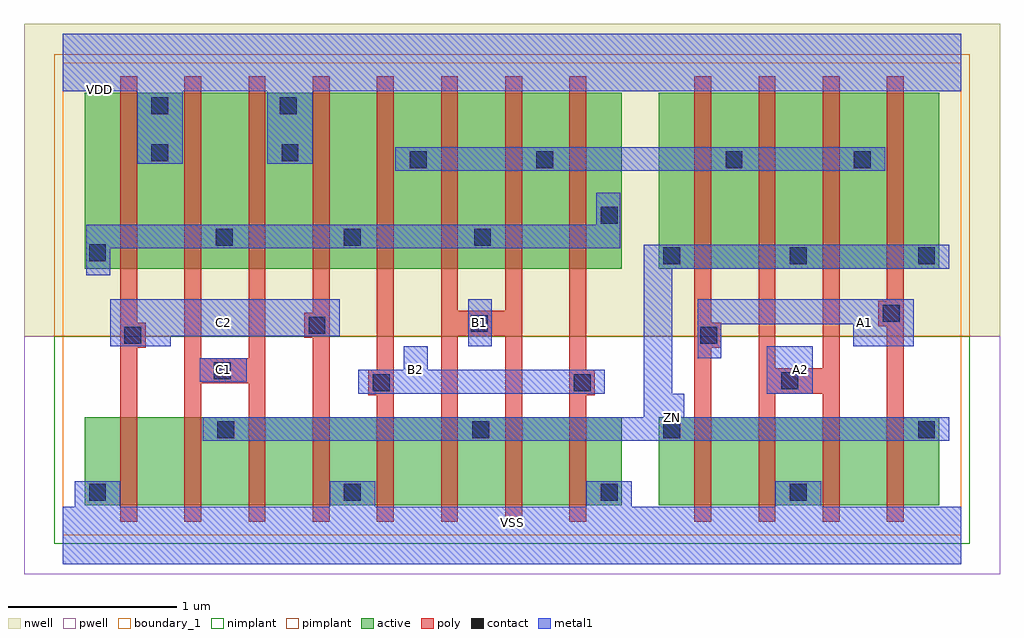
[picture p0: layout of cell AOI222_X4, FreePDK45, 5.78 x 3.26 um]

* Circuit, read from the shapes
.subckt AOI222_X4 A1 A2 B1 B2 C1 C2 VDD VSS ZN
M1 n1 C2 VSS VSUBS nfet w=0.52u l=0.1u
M2 ZN C1 n1 VSUBS nfet w=0.52u l=0.1u
M3 n2 C1 ZN VSUBS nfet w=0.52u l=0.1u
M4 VSS C2 n2 VSUBS nfet w=0.52u l=0.1u
M5 n3 B2 VSS VSUBS nfet w=0.52u l=0.1u
M6 ZN B1 n3 VSUBS nfet w=0.52u l=0.1u
M7 n4 B1 ZN VSUBS nfet w=0.52u l=0.1u
M8 VSS B2 n4 VSUBS nfet w=0.52u l=0.1u
M9 n5 A1 ZN VSUBS nfet w=0.52u l=0.1u
M10 VSS A2 n5 VSUBS nfet w=0.52u l=0.1u
M11 n6 A2 VSS VSUBS nfet w=0.52u l=0.1u
M12 ZN A1 n6 VSUBS nfet w=0.52u l=0.1u
M13 VDD C2 n7 n8 pfet w=1.04u l=0.1u m=2
M14 n7 C1 VDD n8 pfet w=1.04u l=0.1u m=2
M15 n9 B2 n7 n8 pfet w=1.04u l=0.1u m=2
M16 n7 B1 n9 n8 pfet w=1.04u l=0.1u m=2
M17 n9 A1 ZN n8 pfet w=1.04u l=0.1u m=2
M18 ZN A2 n9 n8 pfet w=1.04u l=0.1u m=2
.ends

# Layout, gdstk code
import gdstk
lib = gdstk.Library(unit=1e-6, precision=1e-09)
def R(c, l, rs):  # rectangles x0, y0, x1, y1
    for r in rs: c.add(gdstk.rectangle(r[:2], r[2:], *l))
def P(c, l, *ps):  # polygons
    for p in ps: c.add(gdstk.Polygon(p, *l))
active = (1, 0)
pwell = (2, 0)
nwell = (3, 0)
nimplant = (4, 0)
pimplant = (5, 0)
poly = (9, 0)
contact = (10, 0)
metal1 = (11, 0)
boundary_1 = (235, 1)

aoi222_x4 = lib.new_cell('AOI222_X4')
R(aoi222_x4, active, [(0.13,0.18,3.31,0.7), (3.53,0.18,5.19,0.7), (0.13,1.58,3.31,2.62), (3.53,1.58,5.19,2.62)])
R(aoi222_x4, pwell, [(-0.23,-0.23,5.55,1.18)])
R(aoi222_x4, nwell, [(-0.23,1.18,5.55,3.03)])
R(aoi222_x4, nimplant, [(-0.05,-0.05,5.37,1.18)])
R(aoi222_x4, pimplant, [(-0.05,1.18,5.37,2.85)])
P(aoi222_x4, poly, [(4.83,1.24),(4.88,1.24),(4.88,0.08),(4.98,0.08),(4.98,2.72),(4.88,2.72),(4.88,1.39),(4.83,1.39)],
  [(4.12,0.08),(4.22,0.08),(4.22,0.84),(4.5,0.84),(4.5,0.08),(4.6,0.08),(4.6,2.72),(4.5,2.72),(4.5,0.99),(4.22,0.99),(4.22,2.72),(4.12,2.72)],
  [(3.74,0.08),(3.84,0.08),(3.84,1.11),(3.9,1.11),(3.9,1.26),(3.84,1.26),(3.84,2.72),(3.74,2.72)],
  [(3,0.08),(3.1,0.08),(3.1,0.83),(3.15,0.83),(3.15,0.98),(3.1,0.98),(3.1,2.72),(3,2.72)],
  [(2.24,0.08),(2.34,0.08),(2.34,1.18),(2.62,1.18),(2.62,0.08),(2.72,0.08),(2.72,2.72),(2.62,2.72),(2.62,1.33),(2.34,1.33),(2.34,2.72),(2.24,2.72)],
  [(1.81,0.83),(1.86,0.83),(1.86,0.08),(1.96,0.08),(1.96,2.72),(1.86,2.72),(1.86,0.98),(1.81,0.98)],
  [(1.43,1.17),(1.48,1.17),(1.48,0.08),(1.58,0.08),(1.58,2.72),(1.48,2.72),(1.48,1.32),(1.43,1.32)],
  [(0.72,0.08),(0.82,0.08),(0.82,0.9),(1.1,0.9),(1.1,0.08),(1.2,0.08),(1.2,2.72),(1.1,2.72),(1.1,1.05),(0.82,1.05),(0.82,2.72),(0.72,2.72)],
  [(0.34,0.08),(0.44,0.08),(0.44,1.11),(0.49,1.11),(0.49,1.26),(0.44,1.26),(0.44,2.72),(0.34,2.72)])
R(aoi222_x4, contact, [(0.155,0.205,0.255,0.305), (1.665,0.205,1.765,0.305), (3.185,0.205,3.285,0.305), (4.305,0.205,4.405,0.305), (0.915,0.575,1.015,0.675), (2.425,0.575,2.525,0.675), (3.555,0.575,3.655,0.675), (5.065,0.575,5.165,0.675), (1.835,0.855,1.935,0.955), (3.025,0.855,3.125,0.955), (4.255,0.865,4.355,0.965), (0.895,0.925,0.995,1.025), (0.365,1.135,0.465,1.235), (3.775,1.135,3.875,1.235), (1.455,1.195,1.555,1.295), (2.415,1.205,2.515,1.305), (4.855,1.265,4.955,1.365), (3.555,1.605,3.655,1.705), (4.305,1.605,4.405,1.705), (5.065,1.605,5.165,1.705), (0.155,1.625,0.255,1.725), (0.905,1.715,1.005,1.815), (1.665,1.715,1.765,1.815), (2.435,1.715,2.535,1.815), (3.185,1.845,3.285,1.945), (2.055,2.175,2.155,2.275), (2.805,2.175,2.905,2.275), (3.925,2.175,4.025,2.275), (4.685,2.175,4.785,2.275), (0.525,2.215,0.625,2.315), (1.295,2.215,1.395,2.315), (0.525,2.495,0.625,2.595), (1.285,2.495,1.385,2.595)])
R(aoi222_x4, metal1, [(4.17,0.84,4.44,1.12), (4.17,0.84,4.44,1.12), (0.81,0.91,1.09,1.05), (0.81,0.91,1.09,1.05), (2.4,1.12,2.54,1.4), (2.4,1.12,2.54,1.4), (1.97,2.16,4.87,2.3)])
P(aoi222_x4, metal1, [(0.28,1.12),(0.64,1.12),(0.64,1.18),(1.64,1.18),(1.64,1.4),(0.28,1.4)],
  [(1.75,0.84),(3.21,0.84),(3.21,0.98),(2.16,0.98),(2.16,1.12),(2.02,1.12),(2.02,0.98),(1.75,0.98)],
  [(0,-0.17),(5.32,-0.17),(5.32,0.17),(4.49,0.17),(4.49,0.32),(4.22,0.32),(4.22,0.17),(3.37,0.17),(3.37,0.32),(3.1,0.32),(3.1,0.17),(1.85,0.17),(1.85,0.32),(1.58,0.32),(1.58,0.17),(0.34,0.17),(0.34,0.32),(0.07,0.32),(0.07,0.17),(0,0.17)],
  [(3.61,1.58),(5.25,1.58),(5.25,1.72),(3.44,1.72),(3.44,0.7),(0.83,0.7),(0.83,0.56),(5.25,0.56),(5.25,0.7),(3.68,0.7),(3.68,0.84),(3.61,0.84)],
  [(3.76,1.05),(3.9,1.05),(3.9,1.25),(4.68,1.25),(4.68,1.12),(5.04,1.12),(5.04,1.4),(3.76,1.4)],
  [(0,2.63),(0.44,2.63),(0.44,2.2),(0.71,2.2),(0.71,2.63),(1.21,2.63),(1.21,2.2),(1.48,2.2),(1.48,2.63),(5.32,2.63),(5.32,2.97),(0,2.97)],
  [(0,2.63),(0.44,2.63),(0.44,2.2),(0.71,2.2),(0.71,2.63),(1.21,2.63),(1.21,2.2),(1.48,2.2),(1.48,2.63),(5.32,2.63),(5.32,2.97),(0,2.97)],
  [(0,-0.17),(5.32,-0.17),(5.32,0.17),(4.49,0.17),(4.49,0.32),(4.22,0.32),(4.22,0.17),(3.37,0.17),(3.37,0.32),(3.1,0.32),(3.1,0.17),(1.85,0.17),(1.85,0.32),(1.58,0.32),(1.58,0.17),(0.34,0.17),(0.34,0.32),(0.07,0.32),(0.07,0.17),(0,0.17)],
  [(3.61,1.58),(5.25,1.58),(5.25,1.72),(3.44,1.72),(3.44,0.7),(0.83,0.7),(0.83,0.56),(5.25,0.56),(5.25,0.7),(3.68,0.7),(3.68,0.84),(3.61,0.84)],
  [(3.76,1.05),(3.9,1.05),(3.9,1.25),(4.68,1.25),(4.68,1.12),(5.04,1.12),(5.04,1.4),(3.76,1.4)],
  [(0.14,1.54),(0.28,1.54),(0.28,1.7),(3.3,1.7),(3.3,2.03),(3.16,2.03),(3.16,1.84),(0.14,1.84)],
  [(1.75,0.84),(3.21,0.84),(3.21,0.98),(2.16,0.98),(2.16,1.12),(2.02,1.12),(2.02,0.98),(1.75,0.98)],
  [(0.28,1.12),(0.64,1.12),(0.64,1.18),(1.64,1.18),(1.64,1.4),(0.28,1.4)])
R(aoi222_x4, boundary_1, [(0,0,5.32,2.8)])
aoi222_x4.add(gdstk.Label('ZN', (3.61,0.7), layer=11, texttype=0))
aoi222_x4.add(gdstk.Label('VSS', (2.66,0.075), layer=11, texttype=0))
aoi222_x4.add(gdstk.Label('VDD', (0.22,2.64), layer=11, texttype=0))
aoi222_x4.add(gdstk.Label('C2', (0.95,1.26), layer=11, texttype=0))
aoi222_x4.add(gdstk.Label('C1', (0.95,0.98), layer=11, texttype=0))
aoi222_x4.add(gdstk.Label('B2', (2.09,0.98), layer=11, texttype=0))
aoi222_x4.add(gdstk.Label('B1', (2.47,1.26), layer=11, texttype=0))
aoi222_x4.add(gdstk.Label('A2', (4.37,0.98), layer=11, texttype=0))
aoi222_x4.add(gdstk.Label('A1', (4.75,1.26), layer=11, texttype=0))

lib.write_gds('AOI222_X4.gds')
